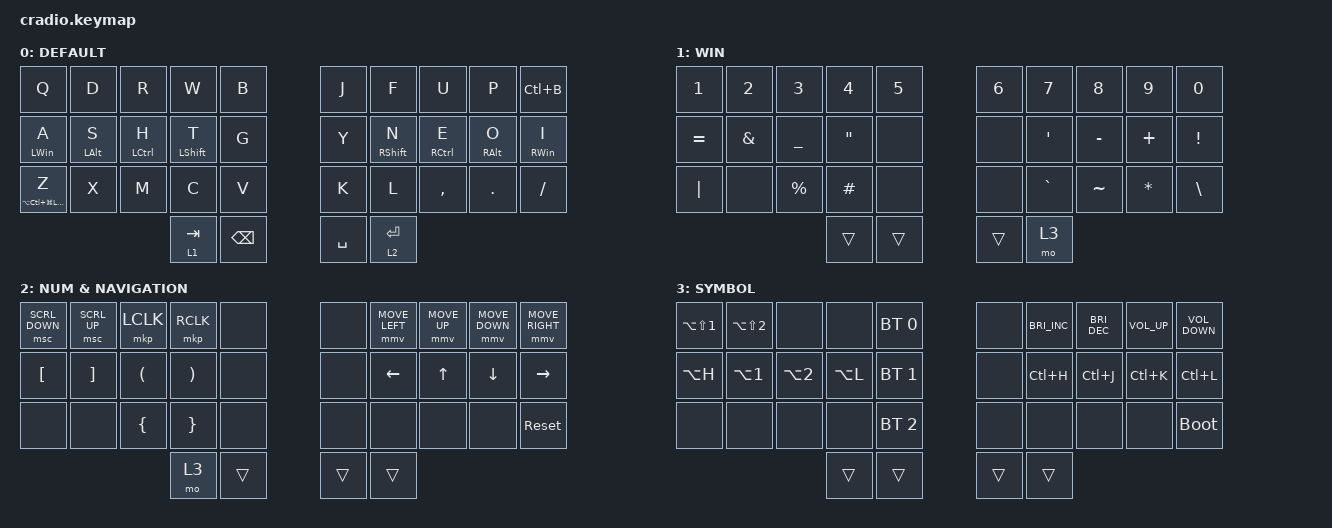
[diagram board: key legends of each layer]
// Copyright (c) 2022 The ZMK Contributors
// SPDX-License-Identifier: MIT

#define ZMK_POINTING_DEFAULT_MOVE_VAL 2500  // 600
#define ZMK_POINTING_DEFAULT_SCRL_VAL 20    // 10

#include <behaviors.dtsi>
#include <dt-bindings/zmk/bt.h>
#include <dt-bindings/zmk/keys.h>
#include <dt-bindings/zmk/pointing.h>

#define MAC 0
#define WIN 1
#define RIG 2
#define LEF 3
#define TRI 4
#define MOUSE 5

/ {
    chosen { zmk,charmap = &charmap_us; };

    behaviors {
        ht: hold_tap {
            label = "hold_tap";
            compatible = "zmk,behavior-hold-tap";
            #binding-cells = <2>;
            flavor = "tap-preferred";
            tapping-term-ms = <200>;
            quick-tap-ms = <150>;
            global-quick-tap;
            bindings = <&kp>, <&kp>;
        };

        mmv {
            acceleration-exponent = <1>;      // 1
            time-to-max-speed-ms = <300>;    // 40
            delay-ms = <0>;                   // 0
        };

        msc {
            acceleration-exponent = <0>;      // 0
            time-to-max-speed-ms = <40>;      // 500
            delay-ms = <0>;                   // 10
        };
    };

    conditional_layers { compatible = "zmk,conditional-layers"; };

    combos {
        compatible = "zmk,combos";

        colon {
            bindings = <&kp COLON>;
            key-positions = <27 28>;
        };

        semicolon {
            bindings = <&kp SEMICOLON>;
            key-positions = <26 29>;
        };

        exit {
            bindings = <&exitvim>;
            key-positions = <0 1>;
        };

        esc {
            bindings = <&kp ESCAPE>;
            key-positions = <21 22>;
        };

        dollar {
            bindings = <&kp DOLLAR>;
            key-positions = <6 7>;
        };

        caret {
            bindings = <&kp CARET>;
            key-positions = <2 3>;
        };

        arrow {
            bindings = <&arrow>;
            key-positions = <6 7 8>;
        };

        add {
            bindings = <&kp AT>;
            key-positions = <1 2 3>;
        };

        save_all {
            bindings = <&save_all>;
            key-positions = <27 26>;
        };
    };

    macros {
        exitvim: exitvim {
            compatible = "zmk,behavior-macro";
            #binding-cells = <0>;
            bindings = <&kp COLON &kp Q &kp ENTER>;
            label = "EXITVIM";
        };

        arrow: arrow {
            compatible = "zmk,behavior-macro";
            #binding-cells = <0>;
            bindings = <&kp MINUS &kp GREATER_THAN>;
            label = "ARROW";
        };

        save_all: save_all {
            compatible = "zmk,behavior-macro";
            #binding-cells = <0>;
            bindings = <&kp COLON &kp W &kp A &kp ENTER>;
            label = "SAVE_ALL";
        };
    };

    keymap {
        compatible = "zmk,keymap";

        default_layer {
            display-name = "DEFAULT";
            bindings = <
&kp Q                         &kp D       &kp R        &kp W             &kp B            &kp J      &kp F              &kp U        &kp P       &kp LC(B)
&ht LEFT_WIN A                &ht LALT S  &ht LCTRL H  &ht LEFT_SHIFT T  &kp G            &kp Y      &ht RIGHT_SHIFT N  &ht RCTRL E  &ht RALT O  &ht RIGHT_WIN I
&mt LA(LC(LG(LEFT_SHIFT))) Z  &kp X       &kp M        &kp C             &kp V            &kp K      &kp L              &kp COMMA    &kp DOT     &kp SLASH
                                                       &lt 1 TAB         &kp BACKSPACE    &kp SPACE  &lt 2 ENTER
            >;
        };

        Symbols {
            display-name = "WIN";
            bindings = <
&kp NUMBER_1  &kp NUMBER_2   &kp NUMBER_3    &kp NUMBER_4       &kp N5    &kp NUMBER_6  &kp N7            &kp N8     &kp N9        &kp N0
&kp EQUAL     &kp AMPERSAND  &kp UNDERSCORE  &kp DOUBLE_QUOTES  &none     &none         &kp SINGLE_QUOTE  &kp MINUS  &kp PLUS      &kp EXCLAMATION
&kp PIPE      &none          &kp PERCENT     &kp HASH           &none     &none         &kp GRAVE         &kp TILDE  &kp ASTERISK  &kp BACKSLASH
                                             &trans             &trans    &trans        &mo 3
            >;
        };

        right_layer {
            display-name = "NUM & NAVIGATION";
            bindings = <
&msc SCRL_DOWN    &msc SCRL_UP       &mkp LCLK             &mkp RCLK              &none     &none   &mmv MOVE_LEFT  &mmv MOVE_UP  &mmv MOVE_DOWN  &mmv MOVE_RIGHT
&kp LEFT_BRACKET  &kp RIGHT_BRACKET  &kp LEFT_PARENTHESIS  &kp RIGHT_PARENTHESIS  &none     &none   &kp LEFT        &kp UP        &kp DOWN        &kp RIGHT
&none             &none              &kp LEFT_BRACE        &kp RIGHT_BRACE        &none     &none   &none           &none         &none           &sys_reset
                                                           &mo 3                  &trans    &trans  &trans
            >;
        };

        left_layer {
            display-name = "SYMBOL";
            bindings = <
&kp LA(LS(NUMBER_1))  &kp LA(LS(NUMBER_2))  &none             &none      &bt BT_SEL 0    &none   &kp C_BRIGHTNESS_INC  &kp C_BRIGHTNESS_DEC  &kp C_VOLUME_UP  &kp C_VOLUME_DOWN
&kp LA(H)             &kp LA(NUMBER_1)      &kp LA(NUMBER_2)  &kp LA(L)  &bt BT_SEL 1    &none   &kp LC(H)             &kp LC(J)             &kp LC(K)        &kp LC(L)
&none                 &none                 &none             &none      &bt BT_SEL 2    &none   &none                 &none                 &none            &bootloader
                                                              &trans     &trans          &trans  &trans
            >;
        };
    };
};
